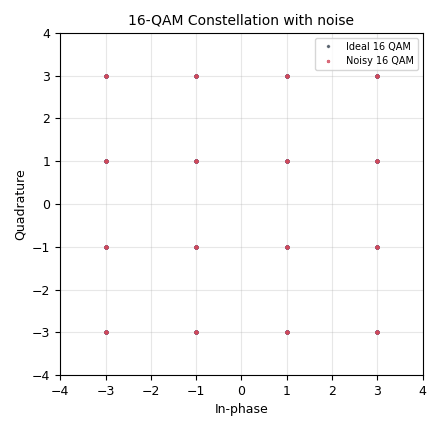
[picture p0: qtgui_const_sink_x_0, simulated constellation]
options:
  parameters:
    author: Dhrubjun
    generate_options: qt_gui
    id: exp8
    output_language: python
    title: 16-QAM with noise
  states: {}

blocks:
- name: noise_amp
  id: variable_qtgui_range
  parameters:
    label: Noise Amplitude
    start: '0'
    step: '0.05'
    stop: '2'
    value: '0'
  states: {}
- name: samp_rate
  id: variable
  parameters:
    value: '32000'
  states: {}
- name: samples_per_symbol
  id: variable
  parameters:
    value: int(samp_rate/symbol_rate)
  states: {}
- name: symbol_rate
  id: variable
  parameters:
    value: '1000'
  states: {}
- name: analog_noise_source_x_0
  id: analog_noise_source_x
  parameters:
    amp: noise_amp
    noise_type: analog.GR_GAUSSIAN
    seed: '0'
    type: complex
  states: {}
- name: blocks_add_xx_0
  id: blocks_add_xx
  parameters:
    type: complex
  states: {}
- name: blocks_float_to_complex_0
  id: blocks_float_to_complex
  parameters: {}
  states: {}
- name: blocks_repeat_0_0
  id: blocks_repeat
  parameters:
    interp: samples_per_symbol
    type: float
  states: {}
- name: blocks_repeat_0_0_0
  id: blocks_repeat
  parameters:
    interp: samples_per_symbol
    type: float
  states: {}
- name: blocks_throttle2_0
  id: blocks_throttle2
  parameters:
    samples_per_second: samp_rate
    type: byte
  states: {}
- name: blocks_throttle2_0_0
  id: blocks_throttle2
  parameters:
    samples_per_second: samp_rate
    type: byte
  states: {}
- name: blocks_vector_source_x_0
  id: blocks_vector_source_x
  parameters:
    alias: I Bit Source
    repeat: 'True'
    type: byte
    vector: (0,0,0,0,1,1,1,1,2,2,2,2,3,3,3,3)
  states: {}
- name: blocks_vector_source_x_0_0
  id: blocks_vector_source_x
  parameters:
    alias: Q Bit Source
    repeat: 'True'
    type: byte
    vector: (0,1,2,3,0,1,2,3,0,1,2,3,0,1,2,3)
  states: {}
- name: digital_chunks_to_symbols_xx_0
  id: digital_chunks_to_symbols_xx
  parameters:
    dimension: '1'
    in_type: byte
    out_type: float
    symbol_table: '[-3, -1, 1, 3]'
  states: {}
- name: digital_chunks_to_symbols_xx_0_0
  id: digital_chunks_to_symbols_xx
  parameters:
    dimension: '1'
    in_type: byte
    out_type: float
    symbol_table: '[-3, -1, 1, 3]'
  states: {}
- name: qtgui_const_sink_x_0
  id: qtgui_const_sink_x
  parameters:
    grid: 'True'
    label1: Ideal 16 QAM
    label2: Noisy 16 QAM
    marker2: '2'
    name: 16-QAM Constellation with noise
    nconnections: '2'
    size: '512'
    type: complex
    width1: '5'
    xmax: '4'
    xmin: '-4'
    ymax: '4'
    ymin: '-4'
  states: {}

connections:
- [analog_noise_source_x_0, '0', blocks_add_xx_0, '1']
- [blocks_add_xx_0, '0', qtgui_const_sink_x_0, '1']
- [blocks_float_to_complex_0, '0', blocks_add_xx_0, '0']
- [blocks_float_to_complex_0, '0', qtgui_const_sink_x_0, '0']
- [blocks_repeat_0_0, '0', blocks_float_to_complex_0, '0']
- [blocks_repeat_0_0_0, '0', blocks_float_to_complex_0, '1']
- [blocks_throttle2_0, '0', digital_chunks_to_symbols_xx_0, '0']
- [blocks_throttle2_0_0, '0', digital_chunks_to_symbols_xx_0_0, '0']
- [blocks_vector_source_x_0, '0', blocks_throttle2_0, '0']
- [blocks_vector_source_x_0_0, '0', blocks_throttle2_0_0, '0']
- [digital_chunks_to_symbols_xx_0, '0', blocks_repeat_0_0, '0']
- [digital_chunks_to_symbols_xx_0_0, '0', blocks_repeat_0_0_0, '0']

metadata:
  file_format: 1
  grc_version: 3.10.12.0
